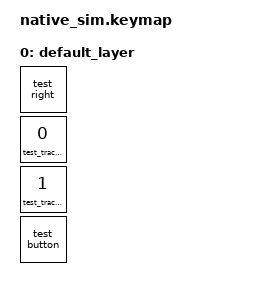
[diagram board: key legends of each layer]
#include <zephyr/dt-bindings/gpio/gpio.h>
#include <zephyr/dt-bindings/input/input-event-codes.h>

#include <behaviors.dtsi>
#include <dt-bindings/zmk/kscan_mock.h>

/ {
    behaviors {
        test_right: test_right {
            compatible = "zmk,behavior-gpio-emul-input";
            #binding-cells = <0>;
            gpios = <&gpio0 2 GPIO_ACTIVE_HIGH>;
        };
        test_trackball_pm: test_trackball_pm {
            compatible = "zmk,behavior-pm-device-action";
            #binding-cells = <1>;
            device = <&trackball>;
        };
        test_button: test_button {
            compatible = "zmk,behavior-gpio-emul-input";
            #binding-cells = <0>;
            gpios = <&gpio0 5 GPIO_ACTIVE_HIGH>;
        };
    };

    trackball: trackball {
        compatible = "sparkfun,blackberry-trackballer";
        left-gpios = <&gpio0 1 GPIO_ACTIVE_HIGH>;
        right-gpios = <&gpio0 2 GPIO_ACTIVE_HIGH>;
        up-gpios = <&gpio0 3 GPIO_ACTIVE_HIGH>;
        down-gpios = <&gpio0 4 GPIO_ACTIVE_HIGH>;
        button-gpios = <&gpio0 5 GPIO_ACTIVE_HIGH>;
        zephyr,axis-x = <INPUT_REL_X>;
        zephyr,axis-y = <INPUT_REL_Y>;
        report-period-ms = <4>;
        interpolation-frames = <4>;
        minimum-pulse-interval-us = <1000000>;
        minimum-step = <8>;
        maximum-step = <8>;
    };

    trackball_listener: trackball_listener {
        compatible = "zmk,input-listener";
        device = <&trackball>;
    };

    keymap {
        compatible = "zmk,keymap";

        default_layer {
            bindings = <
                &test_right
                &test_trackball_pm 0
                &test_trackball_pm 1
                &test_button
            >;
        };
    };
};

&kscan {
    events = <
        /* A reported press is released by suspend so it cannot remain stuck at the host. */
        ZMK_MOCK_PRESS(0,3,10)

        /* This pulse is discarded when suspend cancels the pending report. */
        ZMK_MOCK_PRESS(0,0,1)
        ZMK_MOCK_RELEASE(0,0,1)
        ZMK_MOCK_PRESS(0,1,1)
        ZMK_MOCK_RELEASE(0,1,5)

        /* Button transitions and movement while suspended are ignored. */
        ZMK_MOCK_RELEASE(0,3,1)
        ZMK_MOCK_PRESS(0,0,1)
        ZMK_MOCK_RELEASE(0,0,5)

        ZMK_MOCK_PRESS(0,2,1)
        ZMK_MOCK_RELEASE(0,2,5)

        /* Resume resets interpolation, filtering, and velocity state. */
        ZMK_MOCK_PRESS(0,0,1)
        ZMK_MOCK_RELEASE(0,0,30)
    >;
};
